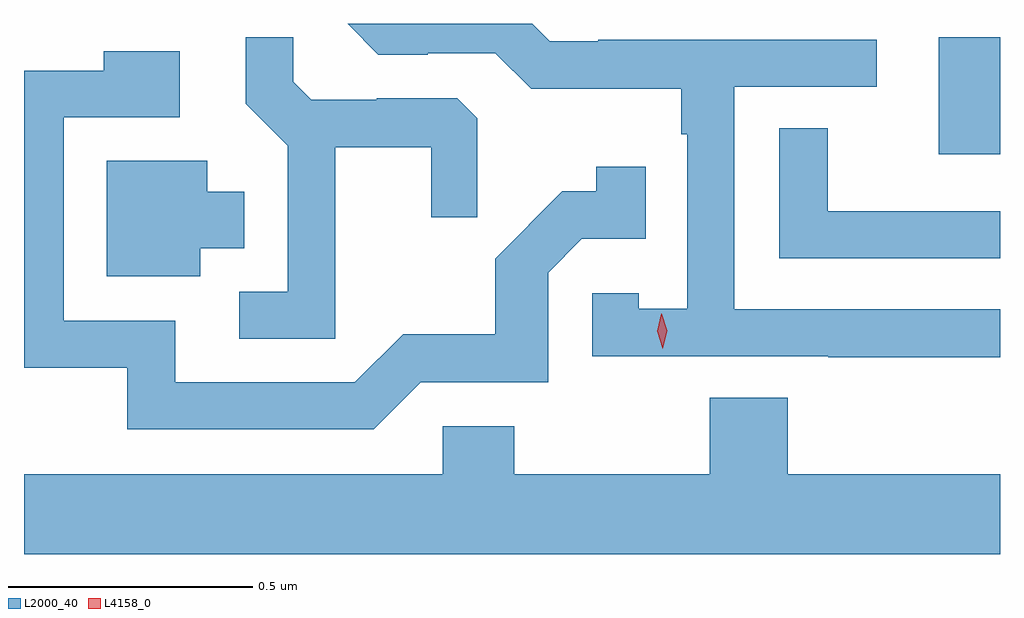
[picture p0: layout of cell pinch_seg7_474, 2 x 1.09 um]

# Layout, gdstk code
import gdstk
lib = gdstk.Library(unit=1e-6, precision=1e-09)
def R(c, l, rs):  # rectangles x0, y0, x1, y1
    for r in rs: c.add(gdstk.rectangle(r[:2], r[2:], *l))
def P(c, l, *ps):  # polygons
    for p in ps: c.add(gdstk.Polygon(p, *l))
L2000_40 = (2000, 40)
L4158_0 = (4158, 0)

pinch_seg7_474 = lib.new_cell('pinch_seg7_474')
R(pinch_seg7_474, L2000_40, [(303.773,1057.38,303.899,1057.619)])
P(pinch_seg7_474, L2000_40, [(303.899,1057.062),(303.354,1057.062),(303.354,1057.518),(303.646,1057.518),(303.646,1057.614),(303.076,1057.614),(303.076,1057.611),(302.976,1057.611),(302.94,1057.647),(302.562,1057.647),(302.625,1057.584),(302.726,1057.584),(302.726,1057.587),(302.865,1057.587),(302.938,1057.514),(303.246,1057.514),(303.246,1057.421),(303.258,1057.421),(303.258,1057.063),(303.159,1057.063),(303.159,1057.095),(303.063,1057.095),(303.063,1056.966),(303.547,1056.966),(303.547,1056.964),(303.899,1056.964)],
  [(302.537,1057.394),(302.734,1057.394),(302.734,1057.251),(302.828,1057.251),(302.828,1057.453),(302.787,1057.494),(302.622,1057.494),(302.622,1057.491),(302.488,1057.491),(302.451,1057.528),(302.451,1057.619),(302.353,1057.619),(302.353,1057.483),(302.439,1057.397),(302.439,1057.098),(302.34,1057.098),(302.34,1057.002),(302.537,1057.002)],
  [(302.712,1056.912),(302.973,1056.912),(302.973,1057.137),(303.042,1057.206),(303.173,1057.206),(303.173,1057.354),(303.072,1057.354),(303.072,1057.304),(303.002,1057.304),(302.865,1057.166),(302.865,1057.011),(302.676,1057.011),(302.577,1056.912),(302.209,1056.912),(302.209,1057.038),(301.98,1057.038),(301.98,1057.455),(302.218,1057.455),(302.218,1057.591),(302.062,1057.591),(302.062,1057.551),(301.899,1057.551),(301.899,1056.942),(302.111,1056.942),(302.111,1056.816),(302.616,1056.816)],
  [(303.899,1057.263),(303.546,1057.263),(303.546,1057.433),(303.447,1057.433),(303.447,1057.167),(303.899,1057.167)],
  [(302.26,1057.187),(302.35,1057.187),(302.35,1057.303),(302.275,1057.303),(302.275,1057.366),(302.069,1057.366),(302.069,1057.13),(302.26,1057.13)],
  [(303.899,1056.724),(303.464,1056.724),(303.464,1056.881),(303.304,1056.881),(303.304,1056.724),(302.904,1056.724),(302.904,1056.822),(302.757,1056.822),(302.757,1056.724),(301.899,1056.724),(301.899,1056.56),(303.899,1056.56)])
P(pinch_seg7_474, L4158_0, [(303.208,1056.981),(303.208,1056.981),(303.197,1057.017),(303.205,1057.053),(303.206,1057.053),(303.206,1057.053),(303.217,1057.018),(303.208,1056.981)])

lib.write_gds('pinch_seg7_474.gds')
